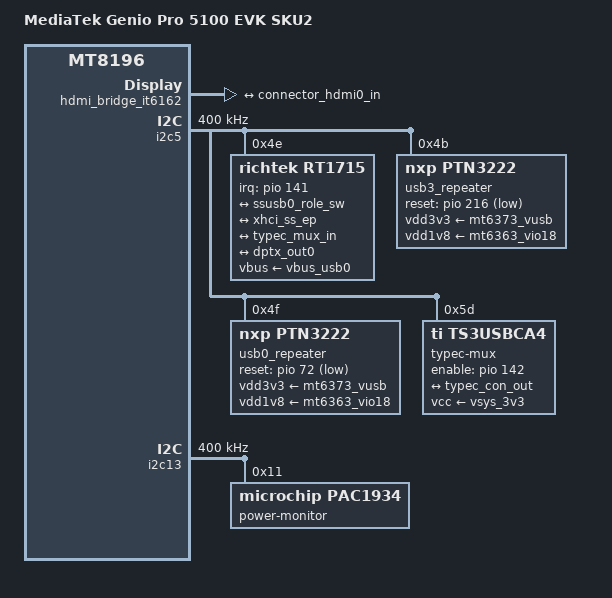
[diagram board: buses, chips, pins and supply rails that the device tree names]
// SPDX-License-Identifier: GPL-2.0 OR MIT
/*
 * Copyright (C) 2026 Collabora Ltd.
 * Author: Arnaud Ferraris <arnaud.ferraris@collabora.com>
 */

/dts-v1/;

#include "mt8894-genio-pro-5100-evk-common.dtsi"
#include <dt-bindings/usb/pd.h>

/ {
	model = "MediaTek Genio Pro 5100 EVK SKU2";
	compatible = "mediatek,mt8894-evk-sku2", "mediatek,mt8894",
		     "mediatek,mt8196";
};

&can_clk {
	clock-frequency = <20000000>;
};

&connector_hdmi0_in {
	remote-endpoint = <&it6162_out>;
};

&hdmi_bridge_it6162 {
	interrupts-extended = <&pio 143 IRQ_TYPE_LEVEL_LOW>;

	/* IT6162CFN - Firmware expects DSI on Port 0 */
	ports {
		#address-cells = <1>;
		#size-cells = <0>;

		port@0 {
			reg = <0>;
			it6162_in: endpoint {
				/* remote-endpoint = <&dsi0_out>; */
			};
		};

		port@2 {
			reg = <2>;
			it6162_out: endpoint {
				remote-endpoint = <&connector_hdmi0_in>;
			};
		};
	};
};

&hdmi_bridge_pins {
	pins-int {
		pinmux = <PINMUX_GPIO143__FUNC_GPIO143>;
		input-enable;
		bias-disable;
	};

	pins-fwupd {
		pinmux = <PINMUX_GPIO79__FUNC_GPIO79>;
		output-high;
	};
};

&i2c5 {
	clock-frequency = <400000>;
	pinctrl-names = "default";
	pinctrl-0 = <&i2c5_pins>;
	status = "okay";

	/* Richtek RT1715 USB Type-C PD controller */
	rt1715: typec@4e {
		compatible = "richtek,rt1715";
		reg = <0x4e>;
		interrupts-extended = <&pio 141 IRQ_TYPE_LEVEL_LOW>;
		pinctrl-names = "default";
		pinctrl-0 = <&rt1715_pins>;
		vbus-supply = <&vbus_usb0>;
		wakeup-source;

		connector {
			compatible = "usb-c-connector";
			label = "USB-C";
			data-role = "dual";
			power-role = "dual";
			pd-revision = /bits/ 8 <0x03 0x00 0x01 0x08>;
			op-sink-microwatt = <0>;
			sink-pdos = <PDO_FIXED(5000, 0, PDO_FIXED_DUAL_ROLE | PDO_FIXED_USB_COMM | PDO_FIXED_DATA_SWAP)>;
			source-pdos = <PDO_FIXED(5000, 2000, PDO_FIXED_DUAL_ROLE | PDO_FIXED_USB_COMM | PDO_FIXED_DATA_SWAP)>;
			try-power-role = "source";

			altmodes {
				displayport {
					svid = /bits/ 16 <0xff01>;
					vdo = <0x001c1c47>;
				};
			};

			ports {
				#address-cells = <1>;
				#size-cells = <0>;

				port@0 {
					reg = <0>;
					typec_con_hs: endpoint {
						remote-endpoint = <&ssusb0_role_sw>;
					};
				};

				port@1 {
					reg = <1>;
					typec_con_ss: endpoint {
						remote-endpoint = <&xhci_ss_ep>;
					};
				};

				port@2 {
					reg = <2>;
					typec_con_out: endpoint@0 {
						reg = <0>;
						remote-endpoint = <&typec_mux_in>;
					};

					typec_con_dp: endpoint@1 {
						reg = <1>;
						remote-endpoint = <&dptx_out0>;
					};
				};
			};
		};
	};


	usb3_repeater: repeater@4b {
		compatible = "nxp,ptn3222";
		reg = <0x4b>;
		#phy-cells = <0>;
		reset-gpios = <&pio 216 GPIO_ACTIVE_LOW>;
		pinctrl-names = "default";
		pinctrl-0 = <&usb3_repeater_pins>;
		vdd3v3-supply = <&mt6373_vusb>;
		vdd1v8-supply = <&mt6363_vio18>;
	};

	usb0_repeater: repeater@4f {
		compatible = "nxp,ptn3222";
		reg = <0x4f>;
		#phy-cells = <0>;
		reset-gpios = <&pio 72 GPIO_ACTIVE_LOW>;
		pinctrl-names = "default";
		pinctrl-0 = <&usb0_repeater_pins>;
		vdd3v3-supply = <&mt6373_vusb>;
		vdd1v8-supply = <&mt6363_vio18>;
	};

	/*
	 * U5703: TI TS3USBCA410IRSVT USB 3.0/DP SBU orientation switch.
	 * Controls SBU1/SBU2 and DP_AUX lane routing based on plug orientation.
	 * LnA is connected to DP_AUXP/DP_AUXN from the SoC.
	 */
	typec-mux@5d {
		compatible = "ti,ts3usbca4";
		reg = <0x5d>;

		mode-switch;
		orientation-switch;

		enable-gpios = <&pio 142 GPIO_ACTIVE_HIGH>;
		vcc-supply = <&vsys_3v3>;
		pinctrl-names = "default";
		pinctrl-0 = <&typec_mux_pins>;

		port {
			typec_mux_in: endpoint {
				remote-endpoint = <&typec_con_out>;
			};
		};
	};
};

&i2c13 {
	clock-frequency = <400000>;
	pinctrl-names = "default";
	pinctrl-0 = <&i2c13_pins>;
	status = "okay";

	power-monitor@11 {
		compatible = "microchip,pac1934";
		reg = <0x11>;

		#address-cells = <1>;
		#size-cells = <0>;

		channel@1 {
			reg = <0x1>;
			shunt-resistor-micro-ohms = <3750>;
			label = "vsys_s1";
		};

		channel@2 {
			reg = <0x2>;
			shunt-resistor-micro-ohms = <2500>;
			label = "vsys_12v";
		};

		channel@3 {
			reg = <0x3>;
			shunt-resistor-micro-ohms = <5000>;
			label = "vaudio_5v";
		};

		channel@4 {
			reg = <0x4>;
			shunt-resistor-micro-ohms = <5000>;
			label = "vvideo_5v";
		};
	};
};

&pio {
	i2c5_pins: i2c5-pins {
		pins-bus {
			pinmux = <PINMUX_GPIO176__FUNC_SCL5>,
				 <PINMUX_GPIO177__FUNC_SDA5>;
			bias-disable;
			drive-strength = <4>;
		};
	};


	fan_tach_pins: fan-tach-pins {
		tach-pins {
			pinmux = <PINMUX_GPIO38__FUNC_GPIO38>;
			bias-pull-up;
			input-enable;
		};
	};

	vio18_lcm1_pins: vio18-lcm1-default {
		pins-regulator {
			pinmux = <PINMUX_GPIO48__FUNC_GPIO48>;
			bias-pull-up = <10000>;
			drive-strength-microamp = <1000>;
			output-high;
		};
	};

	vio33_tp1_lcm1_pins: vio33-tp1-lcm1-default {
		pins-regulator {
			pinmux = <PINMUX_GPIO168__FUNC_GPIO168>;
			bias-pull-up = <10000>;
			drive-strength-microamp = <1000>;
			output-high;
		};
	};

	vsys_lcm1_pins: vsys-lcm1-default {
		pins-regulator {
			pinmux = <PINMUX_GPIO136__FUNC_GPIO136>;
			bias-pull-up = <MTK_PUPD_SET_R1R0_01>;
			drive-strength = <4>;
			output-high;
		};
	};
};

&soc_fan {
	pinctrl-names = "default";
	pinctrl-0 = <&fan_tach_pins>;
	interrupts-extended = <&pio 38 IRQ_TYPE_EDGE_RISING>;
};

&vio18_lcm1 {
	gpio = <&pio 48 GPIO_ACTIVE_HIGH>;
	pinctrl-names = "default";
	pinctrl-0 = <&vio18_lcm1_pins>;
};

&vio33_tp1_lcm1 {
	gpio = <&pio 168 GPIO_ACTIVE_HIGH>;
	pinctrl-names = "default";
	pinctrl-0 = <&vio33_tp1_lcm1_pins>;
};

&vsys_lcm1 {
	gpio = <&pio 136 GPIO_ACTIVE_HIGH>;
	pinctrl-names = "default";
	pinctrl-0 = <&vsys_lcm1_pins>;
};

&vvideo_5v {
	gpio = <&pio 144 GPIO_ACTIVE_HIGH>;
};

&vvideo_5v_pins {
	pins-regulator {
		pinmux = <PINMUX_GPIO144__FUNC_GPIO144>;
		//bias-pull-up = <MTK_PUPD_SET_R1R0_10>; /* 50kOhm PU */
	};
};

#include "mt8894-genio-pro-display-pipeline.dtsi"
